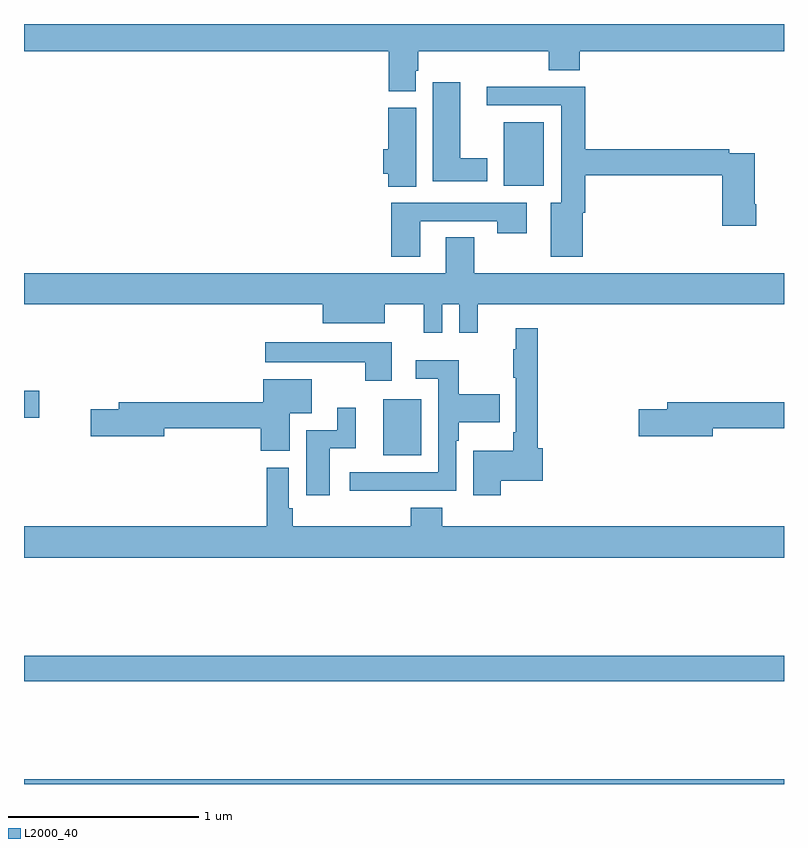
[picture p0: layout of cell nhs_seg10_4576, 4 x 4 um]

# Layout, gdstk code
import gdstk
lib = gdstk.Library(unit=1e-6, precision=1e-09)
def R(c, l, rs):  # rectangles x0, y0, x1, y1
    for r in rs: c.add(gdstk.rectangle(r[:2], r[2:], *l))
def P(c, l, *ps):  # polygons
    for p in ps: c.add(gdstk.Polygon(p, *l))
L2000_40 = (2000, 40)

nhs_seg10_4576 = lib.new_cell('nhs_seg10_4576')
R(nhs_seg10_4576, L2000_40, [(373,1256.5,377,1256.524), (373,1257.04,377,1257.176), (374.891,1258.229,375.091,1258.525), (373,1258.427,373.081,1258.569), (375.524,1259.648,375.736,1259.983)])
P(nhs_seg10_4576, L2000_40, [(373,1260.356),(374.921,1260.356),(374.921,1260.145),(375.061,1260.145),(375.061,1260.255),(375.074,1260.255),(375.074,1260.356),(375.761,1260.356),(375.761,1260.257),(375.926,1260.257),(375.926,1260.356),(377,1260.356),(377,1260.5),(373,1260.5)],
  [(375.439,1259.794),(375.295,1259.794),(375.295,1260.193),(375.152,1260.193),(375.152,1259.672),(375.439,1259.672)],
  [(375.94,1259.507),(375.953,1259.507),(375.953,1259.704),(376.676,1259.704),(376.676,1259.439),(376.854,1259.439),(376.854,1259.551),(376.846,1259.551),(376.846,1259.82),(376.712,1259.82),(376.712,1259.84),(375.953,1259.84),(375.953,1260.17),(375.435,1260.17),(375.435,1260.072),(375.827,1260.072),(375.827,1259.56),(375.773,1259.56),(375.773,1259.274),(375.94,1259.274)],
  [(375.064,1260.06),(374.918,1260.06),(374.918,1259.841),(374.891,1259.841),(374.891,1259.711),(374.918,1259.711),(374.918,1259.644),(375.064,1259.644)],
  [(375.085,1259.463),(375.49,1259.463),(375.49,1259.4),(375.646,1259.4),(375.646,1259.559),(374.933,1259.559),(374.933,1259.274),(375.085,1259.274)],
  [(375.201,1259.024),(375.291,1259.024),(375.291,1258.875),(375.389,1258.875),(375.389,1259.024),(377,1259.024),(377,1259.188),(375.369,1259.188),(375.369,1259.378),(375.221,1259.378),(375.221,1259.188),(373,1259.188),(373,1259.024),(374.573,1259.024),(374.573,1258.925),(374.899,1258.925),(374.899,1259.024),(375.104,1259.024),(375.104,1258.875),(375.201,1258.875)],
  [(375.509,1258.097),(375.731,1258.097),(375.731,1258.268),(375.704,1258.268),(375.704,1258.9),(375.587,1258.9),(375.587,1258.787),(375.576,1258.787),(375.576,1258.639),(375.588,1258.639),(375.588,1258.351),(375.576,1258.351),(375.576,1258.255),(375.365,1258.255),(375.365,1258.02),(375.509,1258.02)],
  [(374.935,1258.825),(374.271,1258.825),(374.271,1258.721),(374.795,1258.721),(374.795,1258.623),(374.935,1258.623)],
  [(374.951,1258.044),(375.276,1258.044),(375.276,1258.307),(375.289,1258.307),(375.289,1258.403),(375.503,1258.403),(375.503,1258.551),(375.289,1258.551),(375.289,1258.729),(375.063,1258.729),(375.063,1258.632),(375.18,1258.632),(375.18,1258.14),(374.715,1258.14),(374.715,1258.043),(374.951,1258.043)],
  [(374.398,1258.451),(374.515,1258.451),(374.515,1258.63),(374.258,1258.63),(374.258,1258.508),(373.499,1258.508),(373.499,1258.472),(373.35,1258.472),(373.35,1258.33),(373.738,1258.33),(373.738,1258.372),(374.246,1258.372),(374.246,1258.254),(374.398,1258.254)],
  [(376.624,1258.372),(377,1258.372),(377,1258.508),(376.385,1258.508),(376.385,1258.472),(376.236,1258.472),(376.236,1258.33),(376.624,1258.33)],
  [(374.608,1258.266),(374.746,1258.266),(374.746,1258.48),(374.648,1258.48),(374.648,1258.362),(374.486,1258.362),(374.486,1258.02),(374.608,1258.02)],
  [(377,1257.856),(375.2,1257.856),(375.2,1257.955),(375.035,1257.955),(375.035,1257.856),(374.414,1257.856),(374.414,1257.952),(374.394,1257.952),(374.394,1258.165),(374.278,1258.165),(374.278,1257.856),(373,1257.856),(373,1257.692),(377,1257.692)])

lib.write_gds('nhs_seg10_4576.gds')
